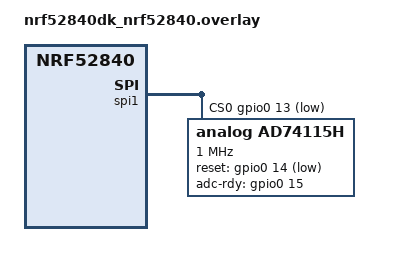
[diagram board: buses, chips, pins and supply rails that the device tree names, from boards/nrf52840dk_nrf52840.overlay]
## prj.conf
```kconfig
# Enable SPI and Sensor API
CONFIG_SPI=y
CONFIG_SENSOR=y

# Enable the AD74115H Driver
CONFIG_AD74115H=y

# Enable Logging for debugging
CONFIG_LOG=y
CONFIG_SENSOR_LOG_LEVEL_INF=y

# Support for floating point in printk (needed for sensor_value output)
CONFIG_CBPRINTF_FP_SUPPORT=y

# Enable GPIO for Reset and ADC_RDY pins
CONFIG_GPIO=y
```

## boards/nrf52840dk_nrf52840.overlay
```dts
&spi1 {
	status = "okay";
	pinctrl-0 = <&spi1_default>;
	pinctrl-names = "default";
	cs-gpios = <&gpio0 13 GPIO_ACTIVE_LOW>;

	ad74115h@0 {
		compatible = "analog,ad74115h";
		reg = <0>;
		spi-max-frequency = <1000000>;
		
		/* Hardware Pins */
		reset-gpios = <&gpio0 14 GPIO_ACTIVE_LOW>;
		adc-rdy-gpios = <&gpio0 15 GPIO_ACTIVE_HIGH>;
		
		/* Driver Features */
		analog,ext-charge-pump;
		
		status = "okay";
	};
};
```

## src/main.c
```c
/*
 * Copyright (c) 2026 William Fish (Manulytica ltd)
 *
 * SPDX-License-Identifier: Apache-2.0
 */
#include <zephyr/kernel.h>
#include <zephyr/drivers/sensor.h>

int main(void)
{
	const struct device *dev = DEVICE_DT_GET_ANY(adi_ad74115h);

	if (!device_is_ready(dev)) {
		printk("Device not ready\n");
		return 0;
	}

	printk("AD74115H Sample Started\n");

	while (1) {
		struct sensor_value val;

		if (sensor_sample_fetch(dev) == 0) {
			sensor_channel_get(dev, SENSOR_CHAN_VOLTAGE, &val);
			printk("ADC Voltage: %d.%06d V\n", val.val1, val.val2);
		}

		k_sleep(K_MSEC(1000));
	}
	return 0;
}
```
